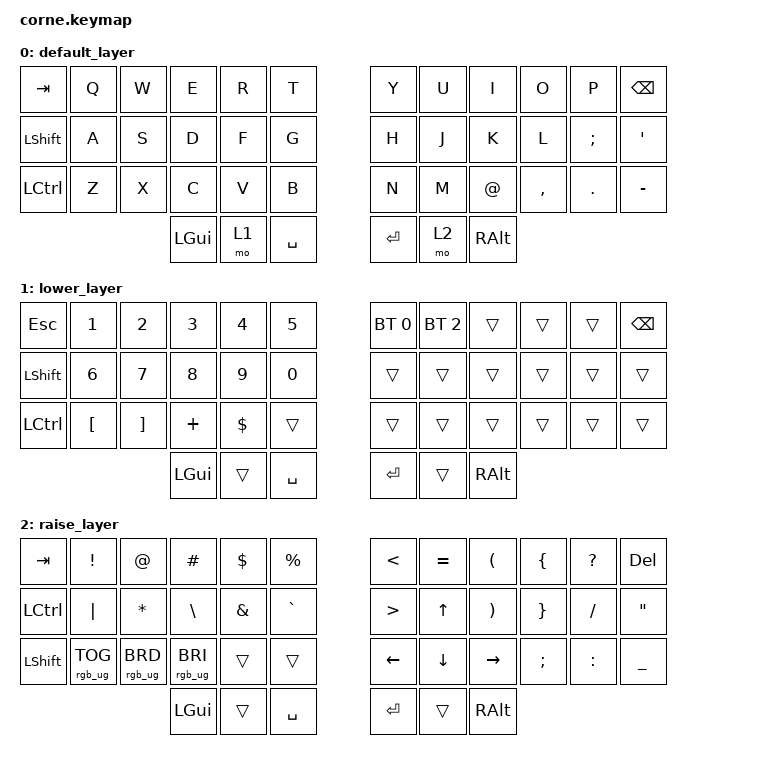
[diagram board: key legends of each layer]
/*
 * Copyright (c) 2020 The ZMK Contributors
 *
 * SPDX-License-Identifier: MIT
 */
#include <behaviors.dtsi>
#include <dt-bindings/zmk/keys.h>
#include <dt-bindings/zmk/bt.h>
#include <dt-bindings/zmk/rgb.h>
#include <dt-bindings/zmk/backlight.h>
/ {
        keymap {
                compatible = "zmk,keymap";
                default_layer {
// -----------------------------------------------------------------------------------------
// |  TAB |  Q  |  W  |  E  |  R  |  T  |   |  Y  |  U   |  I  |  O  |  P  | BSPC |
// | CTRL |  A  |  S  |  D  |  F  |  G  |   |  H  |  J   |  K  |  L  |  Ñ  |  '   |
// | SHFT |  Z  |  X  |  C  |  V  |  B  |   |  N  |  M   |  @  |  ,  |  .  |  -   |
//                    | GUI | LWR | SPC |   | ENT | RSE  | ALT |
                        bindings = <
   &kp TAB   &kp Q &kp W &kp E &kp R &kp T   &kp Y &kp U  &kp I  &kp O   &kp P    &kp BSPC
   &kp LSHFT &kp A &kp S &kp D &kp F &kp G   &kp H &kp J  &kp K  &kp L   &kp SEMI &kp SQT
   &kp LCTRL &kp Z &kp X &kp C &kp V &kp B   &kp N &kp M  &kp AT &kp COMMA &kp DOT &kp MINUS                
                  &kp LGUI &mo 1 &kp SPACE   &kp RET &mo 2 &kp RALT
                        >;
               };
                lower_layer {
// -----------------------------------------------------------------------------------------
// | ESC   |  1  |  2  |  3  |  4  |  5  |   |  BT1 | BT2 |     |     |     | BSPC |
// | LSHFT |  6  |  7  |  8  |  9  |  0  |   |      |     |     |     |     |      |
// | LCTRL |  [  |  ]  |  +  |  $  |     |   |      |     |     |     |     |      |
//                    | GUI |     | SPC |   | ENT |     | ALT |
                        bindings = <
   &kp ESC   &kp N1   &kp N2   &kp N3   &kp N4   &kp N5   &bt BT_SEL 0 &bt BT_SEL 2  &trans  &trans  &trans  &kp BSPC
   &kp LSHFT &kp N6   &kp N7   &kp N8   &kp N9   &kp N0   &trans       &trans        &trans  &trans  &trans  &trans 
   &kp LCTRL &kp LBKT &kp RBKT &kp PLUS &kp DLLR &trans   &trans       &trans        &trans  &trans  &trans  &trans 
                    &kp LGUI     &trans       &kp SPACE   &kp RET  &trans   &kp RALT
                           >;
                };
                raise_layer {
// -----------------------------------------------------------------------------------------
// | TAB  |  !  |  @    |  #  |  $  |  %  |   |  >  |  =  |  ( |  }  |  ?  |  DEL |&rgb_ug RGB_COLOR_HSB(240, 100, 100)
// | CTRL |  |  |  *    |  \  |  &  |  `  |   |  <  |  UP |  ( |  }  |  /  |  "   |&rgb_ug RGB_COLOR_HSB(0, 0, 100)
// | SHFT | RGB | light |     |     |     |   | LFT | DWN | RGT |  ;  |  :  |  _   |
//                    | GUI |     | SPC |   | ENT |     | ALT |
                        bindings = <
   &kp  TAB  &kp EXCL        &kp AT          &kp HASH        &kp DLLR &kp PRCNT   &kp LT   &kp EQUAL &kp LPAR  &kp LBRC &kp QMARK &kp DEL
   &kp LCTRL &kp PIPE        &kp ASTRK       &kp BSLH        &kp AMPS &kp GRAVE   &kp GT   &kp UP    &kp RPAR  &kp RBRC &kp FSLH  &kp DQT
   &kp LSHFT &rgb_ug RGB_TOG &rgb_ug RGB_BRD &rgb_ug RGB_BRI &trans   &trans      &kp LEFT &kp DOWN  &kp RIGHT &kp SEMI &kp COLON &kp UNDER
                                &kp LGUI &trans   &kp SPACE   &kp RET   &trans    &kp RALT
                        >;
                };
       };

};
/* (Opcional) Antichatter: súbele el debounce del escaneo */
&kscan0 {
  debounce-press-ms = <10>;
  debounce-release-ms = <20>;
}; 
